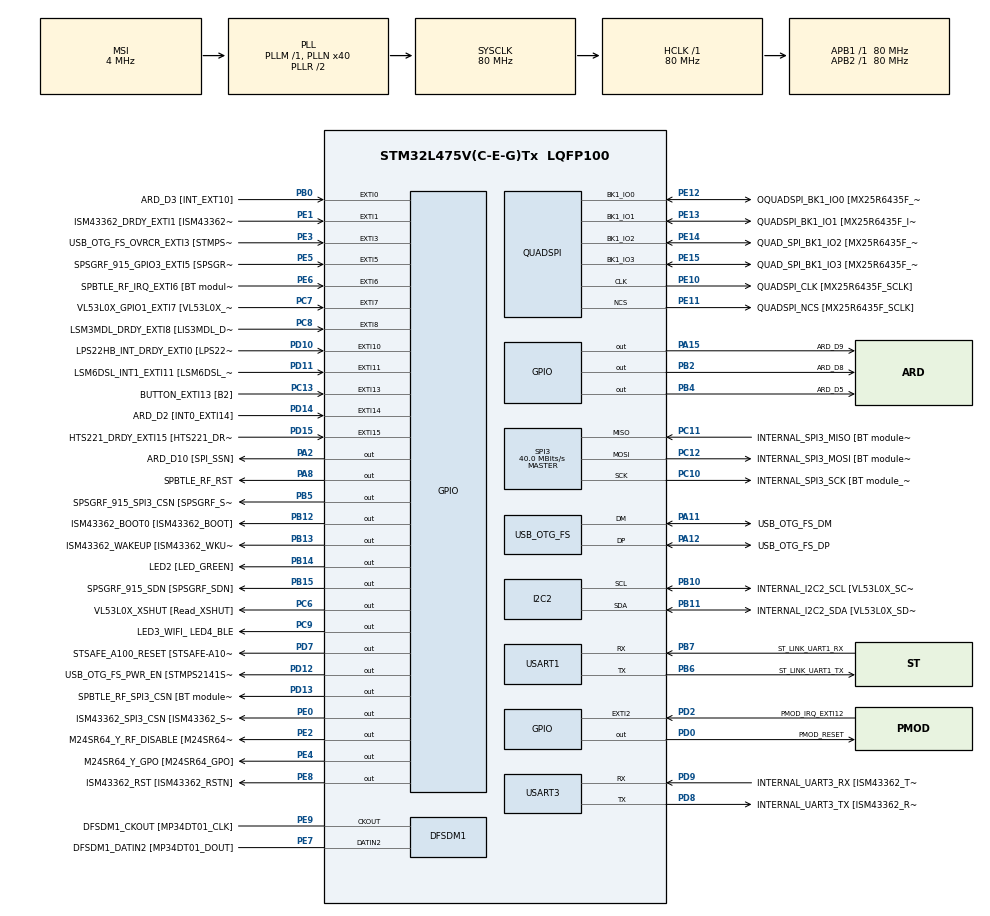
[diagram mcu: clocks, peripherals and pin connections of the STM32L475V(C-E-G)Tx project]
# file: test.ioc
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Mcu.Family=STM32L4
Mcu.Name=STM32L475V(C-E-G)Tx
Mcu.Package=LQFP100
NVIC.EXTI15_10_IRQn=true\:0\:0\:false\:false\:true\:true\:true\:true
NVIC.EXTI9_5_IRQn=true\:0\:0\:false\:false\:true\:true\:true\:true
NVIC.PriorityGroup=NVIC_PRIORITYGROUP_4
PA0.GPIO_Label=ARD_D1 [UART4_TX]
PA0.Signal=UART4_TX
PA1.GPIO_Label=ARD_D0 [UART4_RX]
PA1.Signal=UART4_RX
PA10.GPIO_Label=USB_OTG_FS_ID
PA10.Signal=USB_OTG_FS_ID
PA11.GPIO_Label=USB_OTG_FS_DM
PA11.Mode=Device_Only
PA11.Signal=USB_OTG_FS_DM
PA12.GPIO_Label=USB_OTG_FS_DP
PA12.Mode=Device_Only
PA12.Signal=USB_OTG_FS_DP
PA13\ (JTMS-SWDIO).GPIO_Label=SYS_JTMS_SWDIO
PA13\ (JTMS-SWDIO).Mode=Serial_Wire
PA13\ (JTMS-SWDIO).Signal=SYS_JTMS-SWDIO
PA14\ (JTCK-SWCLK).GPIO_Label=SYS_JTCK_SWCLK
PA14\ (JTCK-SWCLK).Mode=Serial_Wire
PA14\ (JTCK-SWCLK).Signal=SYS_JTCK-SWCLK
PA15\ (JTDI).GPIO_Label=ARD_D9
PA15\ (JTDI).Signal=GPIO_Output
PA2.GPIO_Label=ARD_D10 [SPI_SSN]
PA2.Signal=GPIO_Output
PA3.GPIO_Label=ARD_D4
PA3.Signal=S_TIM2_CH4
PA4.GPIO_Label=ARD_D7
PA4.Signal=ADCx_IN9
PA5.GPIO_Label=ARD_D13 [SPI1_SCK]
PA5.Signal=SPI1_SCK
PA6.GPIO_Label=ARD_D12 [SPI1_MISO]
PA6.Signal=SPI1_MISO
PA7.GPIO_Label=ARD_D11 [SPI1_MOSI]
PA7.Signal=SPI1_MOSI
PA8.GPIO_Label=SPBTLE_RF_RST
PA8.Signal=GPIO_Output
PA9.GPIO_Label=USB_OTG_FS_VBUS [STMPS2141STR_OUT]
PA9.Signal=USB_OTG_FS_VBUS
PB0.GPIO_Label=ARD_D3 [INT_EXT10]
PB0.Signal=GPXTI0
PB1.GPIO_Label=ARD_D6 [ADC1_IN6]
PB1.Signal=ADCx_IN16
PB10.GPIO_Label=INTERNAL_I2C2_SCL [VL53L0X_SCL]
PB10.GPIO_Pu=GPIO_PULLUP
PB10.Mode=I2C
PB10.Signal=I2C2_SCL
PB11.GPIO_Label=INTERNAL_I2C2_SDA [VL53L0X_SDA]
PB11.GPIO_Pu=GPIO_PULLUP
PB11.Mode=I2C
PB11.Signal=I2C2_SDA
PB12.GPIO_Label=ISM43362_BOOT0 [ISM43362_BOOT]
PB12.Signal=GPIO_Output
PB13.GPIO_Label=ISM43362_WAKEUP [ISM43362_WKUP]
PB13.Signal=GPIO_Output
PB14.GPIO_Label=LED2 [LED_GREEN]
PB14.Signal=GPIO_Output
PB15.GPIO_Label=SPSGRF_915_SDN [SPSGRF_SDN]
PB15.Signal=GPIO_Output
PB2.GPIO_Label=ARD_D8
PB2.Signal=GPIO_Output
PB3\ (JTDO-TRACESWO).GPIO_Label=SYS_JTD0_SWO
PB3\ (JTDO-TRACESWO).Signal=SYS_JTDO-SWO
PB4\ (NJTRST).GPIO_Label=ARD_D5
PB4\ (NJTRST).Signal=GPIO_Output
PB5.GPIO_Label=SPSGRF_915_SPI3_CSN [SPSGRF_SPI_CS]
PB5.PinState=GPIO_PIN_SET
PB5.Signal=GPIO_Output
PB6.GPIO_Label=ST_LINK_UART1_TX
PB6.Mode=Asynchronous
PB6.Signal=USART1_TX
PB7.GPIO_Label=ST_LINK_UART1_RX
PB7.Mode=Asynchronous
PB7.Signal=USART1_RX
PB8.GPIO_Label=ARD_D15 [I2C1_SCL]
PB8.Signal=I2C1_SCL
PB9.GPIO_Label=ARD_D14 [I2C1_SDA]
PB9.Signal=I2C1_SDA
PC0.GPIO_Label=ARD_A5 [ADC]
PC0.Signal=ADCx_IN1
PC1.GPIO_Label=ARD_A4 [ADC]
PC1.Signal=ADCx_IN2
PC10.GPIO_Label=INTERNAL_SPI3_SCK [BT module_SPI_SCLK] [ISM43362_SCK]
PC10.Mode=Full_Duplex_Master
PC10.Signal=SPI3_SCK
PC11.GPIO_Label=INTERNAL_SPI3_MISO [BT module_SPI_MISO] [ISM43362_MISO]
PC11.Mode=Full_Duplex_Master
PC11.Signal=SPI3_MISO
PC12.GPIO_Label=INTERNAL_SPI3_MOSI [BT module_SPI_MOSI] [ISM43362_MOSI]
PC12.Mode=Full_Duplex_Master
PC12.Signal=SPI3_MOSI
PC13.GPIO_Label=BUTTON_EXTI13 [B2]
PC13.GPIO_ModeDefaultEXTI=GPIO_MODE_IT_FALLING
PC13.Signal=GPXTI13
PC14-OSC32_IN\ (PC14).Mode=LSE-External-Oscillator
PC14-OSC32_IN\ (PC14).Signal=RCC_OSC32_IN
PC15-OSC32_OUT\ (PC15).Mode=LSE-External-Oscillator
PC15-OSC32_OUT\ (PC15).Signal=RCC_OSC32_OUT
PC2.GPIO_Label=ARD_A3 [ADC]
PC2.Signal=ADCx_IN3
PC3.GPIO_Label=ARD_A2 [ADC]
PC3.Signal=ADCx_IN4
PC4.GPIO_Label=ARD_A1 [ADC]
PC4.Signal=ADCx_IN13
PC5.GPIO_Label=ARD_A0 [ADC]
PC5.Signal=ADCx_IN14
PC6.GPIO_Label=VL53L0X_XSHUT [Read_XSHUT]
PC6.Signal=GPIO_Output
PC7.GPIO_Label=VL53L0X_GPIO1_EXTI7 [VL53L0X_GPIO1]
PC7.Signal=GPXTI7
PC8.GPIO_Label=LSM3MDL_DRDY_EXTI8 [LIS3MDL_DRDY]
PC8.Signal=GPXTI8
PC9.GPIO_Label=LED3_WIFI_ LED4_BLE
PC9.Signal=GPIO_Output
PD0.GPIO_Label=PMOD_RESET
PD0.Signal=GPIO_Output
PD1.GPIO_Label=PMOD_SPI2_SCK
PD1.Signal=SPI2_SCK
PD10.GPIO_Label=LPS22HB_INT_DRDY_EXTI0 [LPS22HB_INT_DRDY] 
PD10.Signal=GPXTI10
PD11.GPIO_Label=LSM6DSL_INT1_EXTI11 [LSM6DSL_INT1]
PD11.Signal=GPXTI11
PD12.GPIO_Label=USB_OTG_FS_PWR_EN [STMPS2141STR_EN]
PD12.Signal=GPIO_Output
PD13.GPIO_Label=SPBTLE_RF_SPI3_CSN [BT module_SPI_CS]
PD13.PinState=GPIO_PIN_SET
PD13.Signal=GPIO_Output
PD14.GPIO_Label=ARD_D2 [INT0_EXTI14]
PD14.Signal=GPXTI14
PD15.GPIO_Label=HTS221_DRDY_EXTI15 [HTS221_DRDY]
PD15.Signal=GPXTI15
PD2.GPIO_Label=PMOD_IRQ_EXTI12
PD2.Signal=GPXTI2
PD3.GPIO_Label=PMOD_UART2_CTS
PD3.Signal=USART2_CTS
PD4.GPIO_Label=PMOD_UART2_RTS
PD4.Signal=USART2_RTS
PD5.GPIO_Label=PMOD_UART2_TX
PD5.Signal=USART2_TX
PD6.GPIO_Label=PMOD_UART2_RX
PD6.Signal=USART2_RX
PD7.GPIO_Label=STSAFE_A100_RESET [STSAFE-A100_RESET]
PD7.Signal=GPIO_Output
PD8.GPIO_Label=INTERNAL_UART3_TX [ISM43362_RX]
PD8.Mode=Asynchronous
PD8.Signal=USART3_TX
PD9.GPIO_Label=INTERNAL_UART3_RX [ISM43362_TX]
PD9.Mode=Asynchronous
PD9.Signal=USART3_RX
PE0.GPIO_Label=ISM43362_SPI3_CSN [ISM43362_SSN]
PE0.PinState=GPIO_PIN_SET
PE0.Signal=GPIO_Output
PE1.GPIO_Label=ISM43362_DRDY_EXTI1 [ISM43362_DATARDY]
PE1.Signal=GPXTI1
PE10.GPIO_Label=QUADSPI_CLK [MX25R6435F_SCLK]
PE10.Mode=Single Bank
PE10.Signal=QUADSPI_CLK
PE11.GPIO_Label=QUADSPI_NCS [MX25R6435F_SCLK]
PE11.Mode=Single Bank
PE11.Signal=QUADSPI_NCS
PE12.GPIO_Label=OQUADSPI_BK1_IO0 [MX25R6435F_IO0]
PE12.Mode=Single Bank
PE12.Signal=QUADSPI_BK1_IO0
PE13.GPIO_Label=QUADSPI_BK1_IO1 [MX25R6435F_IO1]
PE13.Mode=Single Bank
PE13.Signal=QUADSPI_BK1_IO1
PE14.GPIO_Label=QUAD_SPI_BK1_IO2 [MX25R6435F_IO2]
PE14.Mode=Single Bank
PE14.Signal=QUADSPI_BK1_IO2
PE15.GPIO_Label=QUAD_SPI_BK1_IO3 [MX25R6435F_IO3]
PE15.Mode=Single Bank
PE15.Signal=QUADSPI_BK1_IO3
PE2.GPIO_Label=M24SR64_Y_RF_DISABLE [M24SR64_RFDIS]
PE2.Signal=GPIO_Output
PE3.GPIO_Label=USB_OTG_FS_OVRCR_EXTI3 [STMPS2141STR_FAULT]
PE3.Signal=GPXTI3
PE4.GPIO_Label=M24SR64_Y_GPO [M24SR64_GPO]
PE4.Signal=GPIO_Output
PE5.GPIO_Label=SPSGRF_915_GPIO3_EXTI5 [SPSGRF_GPIO_3]
PE5.Signal=GPXTI5
PE6.GPIO_Label=SPBTLE_RF_IRQ_EXTI6 [BT module_SPI_IRQ]
PE6.Signal=GPXTI6
PE7.GPIO_Label=DFSDM1_DATIN2 [MP34DT01_DOUT]
PE7.Signal=S_DATAIN2DFSDM1
PE8.GPIO_Label=ISM43362_RST [ISM43362_RSTN]
PE8.Signal=GPIO_Output
PE9.GPIO_Label=DFSDM1_CKOUT [MP34DT01_CLK]
PE9.Signal=S_CKOUTDFSDM1
ProjectManager.HeapSize=0x200
ProjectManager.StackSize=0x400
ProjectManager.TargetToolchain=STM32CubeIDE
QUADSPI.ClockPrescaler=2
QUADSPI.FifoThreshold=4
QUADSPI.FlashSize=23
QUADSPI.SampleShifting=QSPI_SAMPLE_SHIFTING_HALFCYCLE
RCC.ADCFreq_Value=48000000
RCC.AHBFreq_Value=80000000
RCC.APB1Freq_Value=80000000
RCC.APB1TimFreq_Value=80000000
RCC.APB2Freq_Value=80000000
RCC.APB2TimFreq_Value=80000000
RCC.CortexFreq_Value=80000000
RCC.HCLKFreq_Value=80000000
RCC.HSE_VALUE=8000000
RCC.HSI_VALUE=16000000
RCC.MSI_VALUE=4000000
RCC.PLLN=40
RCC.PLLSAI1N=24
RCC.SYSCLKFreq_VALUE=80000000
RCC.SYSCLKSource=RCC_SYSCLKSOURCE_PLLCLK
RCC.USBFreq_Value=48000000
RCC.VCOOutputFreq_Value=160000000
SH.ADCx_IN1.0=ADC1_IN1
SH.ADCx_IN13.0=ADC1_IN13
SH.ADCx_IN14.0=ADC1_IN14
SH.ADCx_IN16.0=ADC1_IN16
SH.ADCx_IN2.0=ADC1_IN2
SH.ADCx_IN3.0=ADC1_IN3
SH.ADCx_IN4.0=ADC1_IN4
SH.ADCx_IN9.0=ADC1_IN9
SH.S_CKOUTDFSDM1.0=DFSDM1_CKOUT,CKOUT
SH.S_CKOUTDFSDM1.1=DFSDM1_CKOUT,PDM_SPI_Input_from_ch12_and_Internal_Clock
SH.S_DATAIN2DFSDM1.0=DFSDM1_DATIN2,PDM_SPI_Input_from_ch12_and_Internal_Clock
SH.S_TIM2_CH4.0=TIM2_CH4
SPI3.CalculateBaudRate=40.0 MBits/s
SPI3.Direction=SPI_DIRECTION_2LINES
SPI3.Mode=SPI_MODE_MASTER
SPI3.VirtualType=VM_MASTER
USART1.VirtualMode-Asynchronous=VM_ASYNC
USART3.VirtualMode-Asynchronous=VM_ASYNC
USB_OTG_FS.VirtualMode=Device_Only
board=B-L475E-IOT01A1

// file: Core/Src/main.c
/* USER CODE BEGIN Header */
/**
  ******************************************************************************
  * @file           : main.c
  * @brief          : Main program body
  ******************************************************************************
  * @attention
  *
  * Copyright (c) 2024 STMicroelectronics.
  * All rights reserved.
  *
  * This software is licensed under terms that can be found in the LICENSE file
  * in the root directory of this software component.
  * If no LICENSE file comes with this software, it is provided AS-IS.
  *
  ******************************************************************************
  */
/* USER CODE END Header */
#include "main.h"

/* USER CODE BEGIN Includes */
#include "stdio.h"
#include "arm_math.h"
#include "math_helper.h"
#include "stm32l475e_iot01_accelero.h"
/* USER CODE END Includes */

/* USER CODE BEGIN PD */

#define TEST_LENGTH_SAMPLES  320
#define SNR_THRESHOLD_F32    140.0f
#define BLOCK_SIZE            32
#define NUM_TAPS              29

extern float32_t testInput_f32_1kHz_15kHz[TEST_LENGTH_SAMPLES];
extern float32_t refOutput[TEST_LENGTH_SAMPLES];
static float32_t testOutput[TEST_LENGTH_SAMPLES];
static float32_t firStateF32[BLOCK_SIZE + NUM_TAPS - 1];
const float32_t firCoeffs32[NUM_TAPS] = {
  -0.0018225230f, -0.0015879294f, +0.0000000000f, +0.0036977508f, +0.0080754303f, +0.0085302217f, -0.0000000000f, -0.0173976984f,
  -0.0341458607f, -0.0333591565f, +0.0000000000f, +0.0676308395f, +0.1522061835f, +0.2229246956f, +0.2504960933f, +0.2229246956f,
  +0.1522061835f, +0.0676308395f, +0.0000000000f, -0.0333591565f, -0.0341458607f, -0.0173976984f, -0.0000000000f, +0.0085302217f,
  +0.0080754303f, +0.0036977508f, +0.0000000000f, -0.0015879294f, -0.0018225230f
};

extern float32_t myTestInput[64];
static float32_t realInput[64];
static float32_t myOutput[64];
static float32_t my_fir_state[32+16-1];
//const float32_t myCoeffs[16] = {
//	-0.00240944875943933f,	-0.00416217525111597f,	0.00953648542799809f,	0.0199709259953279f,	-0.0379541806908363f,	-0.0695728329288105f,	0.137360839193111f,	0.447230387013765f,	0.447230387013765f,	0.137360839193111f,	-0.0695728329288105f,	-0.0379541806908363f,	0.0199709259953279f,	0.00953648542799809f,	-0.00416217525111597f,	-0.00240944875943933f
//};
const float32_t myCoeffs[16] = {
	-0.00347127644511502f,    -0.00485120373109023f,    -0.00424563075004724f,    0.00889102994524062f,    0.0442373162755437f,    0.100233107352696f,    0.160100278194831f,    0.199106379157941f,    0.199106379157941f,    0.160100278194831f,    0.100233107352696f,    0.0442373162755437f,    0.00889102994524062f,    -0.00424563075004724f,    -0.00485120373109023f,    -0.00347127644511502f
};

/* ------------------------------------------------------------------
 * Global variables for FIR LPF Example
 * ------------------------------------------------------------------- */

uint32_t blockSize = BLOCK_SIZE;
uint32_t numBlocks = TEST_LENGTH_SAMPLES/BLOCK_SIZE;

float32_t  snr;
/* USER CODE END PD */

DFSDM_Channel_HandleTypeDef hdfsdm1_channel1;

I2C_HandleTypeDef hi2c2;

QSPI_HandleTypeDef hqspi;

SPI_HandleTypeDef hspi3;

UART_HandleTypeDef huart1;
UART_HandleTypeDef huart3;

PCD_HandleTypeDef hpcd_USB_OTG_FS;

/* USER CODE BEGIN PV */
uint32_t i, j;
arm_fir_instance_f32 S, my_fir;
arm_status status;
float32_t  *inputF32, *outputF32;
int16_t pDataXYZ[3];
/* USER CODE END PV */

void SystemClock_Config(void);
static void MX_GPIO_Init(void);
static void MX_DFSDM1_Init(void);
static void MX_I2C2_Init(void);
static void MX_QUADSPI_Init(void);
static void MX_SPI3_Init(void);
static void MX_USART1_UART_Init(void);
static void MX_USART3_UART_Init(void);
static void MX_USB_OTG_FS_PCD_Init(void);

/* USER CODE BEGIN 0 */
int __io_putchar(int ch)
{
	HAL_UART_Transmit(&huart1, (uint8_t *)&ch, 1, 0xFFFF);
	return ch;
}
/* USER CODE END 0 */

int main(void)
{

  /* MCU Configuration--------------------------------------------------------*/

  /* Reset of all peripherals, Initializes the Flash interface and the Systick. */
  HAL_Init();

  /* Configure the system clock */
  SystemClock_Config();

  /* Initialize all configured peripherals */
  MX_GPIO_Init();
  MX_DFSDM1_Init();
  MX_I2C2_Init();
  MX_QUADSPI_Init();
  MX_SPI3_Init();
  MX_USART1_UART_Init();
  MX_USART3_UART_Init();
  MX_USB_OTG_FS_PCD_Init();
  /* USER CODE BEGIN 2 */
  BSP_ACCELERO_Init();
  printf("Initialization done.\n");
  arm_fir_example();

  // my fir test
//  printf("\nTest my own lowpass filter using a mixture of 1Hz + 8Hz sine signal under sample rate 20Hz.\n\n");
//  my_fir_test();

  // initialize for real data
  inputF32 = &realInput[0];
  outputF32 = &myOutput[0];
  arm_fir_init_f32(&my_fir, 16, (float32_t *)&myCoeffs[0], &my_fir_state[0], blockSize);

  printf("\nStart reading accelero data.\n\n");
  for(i=0;i<64;i++){
	  BSP_ACCELERO_AccGetXYZ(pDataXYZ);
//	  printf("%d %d %d\n", pDataXYZ[0], pDataXYZ[1], pDataXYZ[2]);
	  realInput[i] = (float32_t)pDataXYZ[2];
	  HAL_Delay(1000/20);
  }
  for(i=0; i < 2; i++)
  {
    arm_fir_f32(&my_fir, inputF32 + (i * blockSize), outputF32 + (i * blockSize), blockSize);
  }
  printf("Original data:\n\n");
  for(i=0; i<64; i++){
	  printf("%f, ", realInput[i]);
  }

  printf("\n\nProcessed data:\n\n");
  for(i=0; i<64; i++){
  	  printf("%f, ", myOutput[i]);
    }
  printf("\n\nDone.\n");

  /* USER CODE END 2 */

  /* Infinite loop */
  while (1)
  {

    /* USER CODE BEGIN 3 */
//	  BSP_ACCELERO_AccGetXYZ(pDataXYZ);
//	  printf("%d %d %d\n", pDataXYZ[0], pDataXYZ[1], pDataXYZ[2]);
	  HAL_Delay(100);
  }
  /* USER CODE END 3 */
}

void SystemClock_Config(void)
{
  RCC_OscInitTypeDef RCC_OscInitStruct = {0};
  RCC_ClkInitTypeDef RCC_ClkInitStruct = {0};

  /** Configure the main internal regulator output voltage
  */
  if (HAL_PWREx_ControlVoltageScaling(PWR_REGULATOR_VOLTAGE_SCALE1) != HAL_OK)
  {
    Error_Handler();
  }

  /** Configure LSE Drive Capability
  */
  HAL_PWR_EnableBkUpAccess();
  __HAL_RCC_LSEDRIVE_CONFIG(RCC_LSEDRIVE_LOW);

  /** Initializes the RCC Oscillators according to the specified parameters
  * in the RCC_OscInitTypeDef structure.
  */
  RCC_OscInitStruct.OscillatorType = RCC_OSCILLATORTYPE_LSE|RCC_OSCILLATORTYPE_MSI;
  RCC_OscInitStruct.LSEState = RCC_LSE_ON;
  RCC_OscInitStruct.MSIState = RCC_MSI_ON;
  RCC_OscInitStruct.MSICalibrationValue = 0;
  RCC_OscInitStruct.MSIClockRange = RCC_MSIRANGE_6;
  RCC_OscInitStruct.PLL.PLLState = RCC_PLL_ON;
  RCC_OscInitStruct.PLL.PLLSource = RCC_PLLSOURCE_MSI;
  RCC_OscInitStruct.PLL.PLLM = 1;
  RCC_OscInitStruct.PLL.PLLN = 40;
  RCC_OscInitStruct.PLL.PLLP = RCC_PLLP_DIV7;
  RCC_OscInitStruct.PLL.PLLQ = RCC_PLLQ_DIV2;
  RCC_OscInitStruct.PLL.PLLR = RCC_PLLR_DIV2;
  if (HAL_RCC_OscConfig(&RCC_OscInitStruct) != HAL_OK)
  {
    Error_Handler();
  }

  /** Initializes the CPU, AHB and APB buses clocks
  */
  RCC_ClkInitStruct.ClockType = RCC_CLOCKTYPE_HCLK|RCC_CLOCKTYPE_SYSCLK
                              |RCC_CLOCKTYPE_PCLK1|RCC_CLOCKTYPE_PCLK2;
  RCC_ClkInitStruct.SYSCLKSource = RCC_SYSCLKSOURCE_PLLCLK;
  RCC_ClkInitStruct.AHBCLKDivider = RCC_SYSCLK_DIV1;
  RCC_ClkInitStruct.APB1CLKDivider = RCC_HCLK_DIV1;
  RCC_ClkInitStruct.APB2CLKDivider = RCC_HCLK_DIV1;

  if (HAL_RCC_ClockConfig(&RCC_ClkInitStruct, FLASH_LATENCY_4) != HAL_OK)
  {
    Error_Handler();
  }

  /** Enable MSI Auto calibration
  */
  HAL_RCCEx_EnableMSIPLLMode();
}

static void MX_DFSDM1_Init(void)
{

  hdfsdm1_channel1.Instance = DFSDM1_Channel1;
  hdfsdm1_channel1.Init.OutputClock.Activation = ENABLE;
  hdfsdm1_channel1.Init.OutputClock.Selection = DFSDM_CHANNEL_OUTPUT_CLOCK_SYSTEM;
  hdfsdm1_channel1.Init.OutputClock.Divider = 2;
  hdfsdm1_channel1.Init.Input.Multiplexer = DFSDM_CHANNEL_EXTERNAL_INPUTS;
  hdfsdm1_channel1.Init.Input.DataPacking = DFSDM_CHANNEL_STANDARD_MODE;
  hdfsdm1_channel1.Init.Input.Pins = DFSDM_CHANNEL_FOLLOWING_CHANNEL_PINS;
  hdfsdm1_channel1.Init.SerialInterface.Type = DFSDM_CHANNEL_SPI_RISING;
  hdfsdm1_channel1.Init.SerialInterface.SpiClock = DFSDM_CHANNEL_SPI_CLOCK_INTERNAL;
  hdfsdm1_channel1.Init.Awd.FilterOrder = DFSDM_CHANNEL_FASTSINC_ORDER;
  hdfsdm1_channel1.Init.Awd.Oversampling = 1;
  hdfsdm1_channel1.Init.Offset = 0;
  hdfsdm1_channel1.Init.RightBitShift = 0x00;
  if (HAL_DFSDM_ChannelInit(&hdfsdm1_channel1) != HAL_OK)
  {
    Error_Handler();
  }

}

static void MX_I2C2_Init(void)
{

  hi2c2.Instance = I2C2;
  hi2c2.Init.Timing = 0x00000E14;
  hi2c2.Init.OwnAddress1 = 0;
  hi2c2.Init.AddressingMode = I2C_ADDRESSINGMODE_7BIT;
  hi2c2.Init.DualAddressMode = I2C_DUALADDRESS_DISABLE;
  hi2c2.Init.OwnAddress2 = 0;
  hi2c2.Init.OwnAddress2Masks = I2C_OA2_NOMASK;
  hi2c2.Init.GeneralCallMode = I2C_GENERALCALL_DISABLE;
  hi2c2.Init.NoStretchMode = I2C_NOSTRETCH_DISABLE;
  if (HAL_I2C_Init(&hi2c2) != HAL_OK)
  {
    Error_Handler();
  }

  /** Configure Analogue filter
  */
  if (HAL_I2CEx_ConfigAnalogFilter(&hi2c2, I2C_ANALOGFILTER_ENABLE) != HAL_OK)
  {
    Error_Handler();
  }

  /** Configure Digital filter
  */
  if (HAL_I2CEx_ConfigDigitalFilter(&hi2c2, 0) != HAL_OK)
  {
    Error_Handler();
  }

}

static void MX_QUADSPI_Init(void)
{

  /* QUADSPI parameter configuration*/
  hqspi.Instance = QUADSPI;
  hqspi.Init.ClockPrescaler = 2;
  hqspi.Init.FifoThreshold = 4;
  hqspi.Init.SampleShifting = QSPI_SAMPLE_SHIFTING_HALFCYCLE;
  hqspi.Init.FlashSize = 23;
  hqspi.Init.ChipSelectHighTime = QSPI_CS_HIGH_TIME_1_CYCLE;
  hqspi.Init.ClockMode = QSPI_CLOCK_MODE_0;
  if (HAL_QSPI_Init(&hqspi) != HAL_OK)
  {
    Error_Handler();
  }

}

static void MX_SPI3_Init(void)
{

  /* SPI3 parameter configuration*/
  hspi3.Instance = SPI3;
  hspi3.Init.Mode = SPI_MODE_MASTER;
  hspi3.Init.Direction = SPI_DIRECTION_2LINES;
  hspi3.Init.DataSize = SPI_DATASIZE_4BIT;
  hspi3.Init.CLKPolarity = SPI_POLARITY_LOW;
  hspi3.Init.CLKPhase = SPI_PHASE_1EDGE;
  hspi3.Init.NSS = SPI_NSS_SOFT;
  hspi3.Init.BaudRatePrescaler = SPI_BAUDRATEPRESCALER_2;
  hspi3.Init.FirstBit = SPI_FIRSTBIT_MSB;
  hspi3.Init.TIMode = SPI_TIMODE_DISABLE;
  hspi3.Init.CRCCalculation = SPI_CRCCALCULATION_DISABLE;
  hspi3.Init.CRCPolynomial = 7;
  hspi3.Init.CRCLength = SPI_CRC_LENGTH_DATASIZE;
  hspi3.Init.NSSPMode = SPI_NSS_PULSE_ENABLE;
  if (HAL_SPI_Init(&hspi3) != HAL_OK)
  {
    Error_Handler();
  }

}

static void MX_USART1_UART_Init(void)
{

  huart1.Instance = USART1;
  huart1.Init.BaudRate = 115200;
  huart1.Init.WordLength = UART_WORDLENGTH_8B;
  huart1.Init.StopBits = UART_STOPBITS_1;
  huart1.Init.Parity = UART_PARITY_NONE;
  huart1.Init.Mode = UART_MODE_TX_RX;
  huart1.Init.HwFlowCtl = UART_HWCONTROL_NONE;
  huart1.Init.OverSampling = UART_OVERSAMPLING_16;
  huart1.Init.OneBitSampling = UART_ONE_BIT_SAMPLE_DISABLE;
  huart1.AdvancedInit.AdvFeatureInit = UART_ADVFEATURE_NO_INIT;
  if (HAL_UART_Init(&huart1) != HAL_OK)
  {
    Error_Handler();
  }

}

static void MX_USART3_UART_Init(void)
{

  huart3.Instance = USART3;
  huart3.Init.BaudRate = 115200;
  huart3.Init.WordLength = UART_WORDLENGTH_8B;
  huart3.Init.StopBits = UART_STOPBITS_1;
  huart3.Init.Parity = UART_PARITY_NONE;
  huart3.Init.Mode = UART_MODE_TX_RX;
  huart3.Init.HwFlowCtl = UART_HWCONTROL_NONE;
  huart3.Init.OverSampling = UART_OVERSAMPLING_16;
  huart3.Init.OneBitSampling = UART_ONE_BIT_SAMPLE_DISABLE;
  huart3.AdvancedInit.AdvFeatureInit = UART_ADVFEATURE_NO_INIT;
  if (HAL_UART_Init(&huart3) != HAL_OK)
  {
    Error_Handler();
  }

}

static void MX_USB_OTG_FS_PCD_Init(void)
{

  hpcd_USB_OTG_FS.Instance = USB_OTG_FS;
  hpcd_USB_OTG_FS.Init.dev_endpoints = 6;
  hpcd_USB_OTG_FS.Init.speed = PCD_SPEED_FULL;
  hpcd_USB_OTG_FS.Init.phy_itface = PCD_PHY_EMBEDDED;
  hpcd_USB_OTG_FS.Init.Sof_enable = DISABLE;
  hpcd_USB_OTG_FS.Init.low_power_enable = DISABLE;
  hpcd_USB_OTG_FS.Init.lpm_enable = DISABLE;
  hpcd_USB_OTG_FS.Init.battery_charging_enable = DISABLE;
  hpcd_USB_OTG_FS.Init.use_dedicated_ep1 = DISABLE;
  hpcd_USB_OTG_FS.Init.vbus_sensing_enable = DISABLE;
  if (HAL_PCD_Init(&hpcd_USB_OTG_FS) != HAL_OK)
  {
    Error_Handler();
  }

}

static void MX_GPIO_Init(void)
{
  GPIO_InitTypeDef GPIO_InitStruct = {0};

  /* GPIO Ports Clock Enable */
  __HAL_RCC_GPIOE_CLK_ENABLE();
  __HAL_RCC_GPIOC_CLK_ENABLE();
  __HAL_RCC_GPIOA_CLK_ENABLE();
  __HAL_RCC_GPIOB_CLK_ENABLE();
  __HAL_RCC_GPIOD_CLK_ENABLE();

  /*Configure GPIO pin Output Level */
  HAL_GPIO_WritePin(GPIOE, M24SR64_Y_RF_DISABLE_Pin|M24SR64_Y_GPO_Pin|ISM43362_RST_Pin, GPIO_PIN_RESET);

  /*Configure GPIO pin Output Level */
  HAL_GPIO_WritePin(GPIOA, ARD_D10_Pin|SPBTLE_RF_RST_Pin|ARD_D9_Pin, GPIO_PIN_RESET);

  /*Configure GPIO pin Output Level */
  HAL_GPIO_WritePin(GPIOB, ARD_D8_Pin|ISM43362_BOOT0_Pin|ISM43362_WAKEUP_Pin|LED2_Pin
                          |SPSGRF_915_SDN_Pin|ARD_D5_Pin, GPIO_PIN_RESET);

  /*Configure GPIO pin Output Level */
  HAL_GPIO_WritePin(GPIOD, USB_OTG_FS_PWR_EN_Pin|PMOD_RESET_Pin|STSAFE_A100_RESET_Pin, GPIO_PIN_RESET);

  /*Configure GPIO pin Output Level */
  HAL_GPIO_WritePin(SPBTLE_RF_SPI3_CSN_GPIO_Port, SPBTLE_RF_SPI3_CSN_Pin, GPIO_PIN_SET);

  /*Configure GPIO pin Output Level */
  HAL_GPIO_WritePin(GPIOC, VL53L0X_XSHUT_Pin|LED3_WIFI__LED4_BLE_Pin, GPIO_PIN_RESET);

  /*Configure GPIO pin Output Level */
  HAL_GPIO_WritePin(SPSGRF_915_SPI3_CSN_GPIO_Port, SPSGRF_915_SPI3_CSN_Pin, GPIO_PIN_SET);

  /*Configure GPIO pin Output Level */
  HAL_GPIO_WritePin(ISM43362_SPI3_CSN_GPIO_Port, ISM43362_SPI3_CSN_Pin, GPIO_PIN_SET);

  /*Configure GPIO pins : M24SR64_Y_RF_DISABLE_Pin M24SR64_Y_GPO_Pin ISM43362_RST_Pin ISM43362_SPI3_CSN_Pin */
  GPIO_InitStruct.Pin = M24SR64_Y_RF_DISABLE_Pin|M24SR64_Y_GPO_Pin|ISM43362_RST_Pin|ISM43362_SPI3_CSN_Pin;
  GPIO_InitStruct.Mode = GPIO_MODE_OUTPUT_PP;
  GPIO_InitStruct.Pull = GPIO_NOPULL;
  GPIO_InitStruct.Speed = GPIO_SPEED_FREQ_LOW;
  HAL_GPIO_Init(GPIOE, &GPIO_InitStruct);

  /*Configure GPIO pins : USB_OTG_FS_OVRCR_EXTI3_Pin SPSGRF_915_GPIO3_EXTI5_Pin SPBTLE_RF_IRQ_EXTI6_Pin ISM43362_DRDY_EXTI1_Pin */
  GPIO_InitStruct.Pin = USB_OTG_FS_OVRCR_EXTI3_Pin|SPSGRF_915_GPIO3_EXTI5_Pin|SPBTLE_RF_IRQ_EXTI6_Pin|ISM43362_DRDY_EXTI1_Pin;
  GPIO_InitStruct.Mode = GPIO_MODE_IT_RISING;
  GPIO_InitStruct.Pull = GPIO_NOPULL;
  HAL_GPIO_Init(GPIOE, &GPIO_InitStruct);

  /*Configure GPIO pin : BUTTON_EXTI13_Pin */
  GPIO_InitStruct.Pin = BUTTON_EXTI13_Pin;
  GPIO_InitStruct.Mode = GPIO_MODE_IT_FALLING;
  GPIO_InitStruct.Pull = GPIO_NOPULL;
  HAL_GPIO_Init(BUTTON_EXTI13_GPIO_Port, &GPIO_InitStruct);

  /*Configure GPIO pins : ARD_A5_Pin ARD_A4_Pin ARD_A3_Pin ARD_A2_Pin
                           ARD_A1_Pin ARD_A0_Pin */
  GPIO_InitStruct.Pin = ARD_A5_Pin|ARD_A4_Pin|ARD_A3_Pin|ARD_A2_Pin
                          |ARD_A1_Pin|ARD_A0_Pin;
  GPIO_InitStruct.Mode = GPIO_MODE_ANALOG_ADC_CONTROL;
  GPIO_InitStruct.Pull = GPIO_NOPULL;
  HAL_GPIO_Init(GPIOC, &GPIO_InitStruct);

  /*Configure GPIO pins : ARD_D1_Pin ARD_D0_Pin */
  GPIO_InitStruct.Pin = ARD_D1_Pin|ARD_D0_Pin;
  GPIO_InitStruct.Mode = GPIO_MODE_AF_PP;
  GPIO_InitStruct.Pull = GPIO_NOPULL;
  GPIO_InitStruct.Speed = GPIO_SPEED_FREQ_VERY_HIGH;
  GPIO_InitStruct.Alternate = GPIO_AF8_UART4;
  HAL_GPIO_Init(GPIOA, &GPIO_InitStruct);

  /*Configure GPIO pins : ARD_D10_Pin SPBTLE_RF_RST_Pin ARD_D9_Pin */
  GPIO_InitStruct.Pin = ARD_D10_Pin|SPBTLE_RF_RST_Pin|ARD_D9_Pin;
  GPIO_InitStruct.Mode = GPIO_MODE_OUTPUT_PP;
  GPIO_InitStruct.Pull = GPIO_NOPULL;
  GPIO_InitStruct.Speed = GPIO_SPEED_FREQ_LOW;
  HAL_GPIO_Init(GPIOA, &GPIO_InitStruct);

  /*Configure GPIO pin : ARD_D4_Pin */
  GPIO_InitStruct.Pin = ARD_D4_Pin;
  GPIO_InitStruct.Mode = GPIO_MODE_AF_PP;
  GPIO_InitStruct.Pull = GPIO_NOPULL;
  GPIO_InitStruct.Speed = GPIO_SPEED_FREQ_LOW;
  GPIO_InitStruct.Alternate = GPIO_AF1_TIM2;
  HAL_GPIO_Init(ARD_D4_GPIO_Port, &GPIO_InitStruct);

  /*Configure GPIO pin : ARD_D7_Pin */
  GPIO_InitStruct.Pin = ARD_D7_Pin;
  GPIO_InitStruct.Mode = GPIO_MODE_ANALOG_ADC_CONTROL;
  GPIO_InitStruct.Pull = GPIO_NOPULL;
  HAL_GPIO_Init(ARD_D7_GPIO_Port, &GPIO_InitStruct);

  /*Configure GPIO pins : ARD_D13_Pin ARD_D12_Pin ARD_D11_Pin */
  GPIO_InitStruct.Pin = ARD_D13_Pin|ARD_D12_Pin|ARD_D11_Pin;
  GPIO_InitStruct.Mode = GPIO_MODE_AF_PP;
  GPIO_InitStruct.Pull = GPIO_NOPULL;
  GPIO_InitStruct.Speed = GPIO_SPEED_FREQ_VERY_HIGH;
  GPIO_InitStruct.Alternate = GPIO_AF5_SPI1;
  HAL_GPIO_Init(GPIOA, &GPIO_InitStruct);

  /*Configure GPIO pin : ARD_D3_Pin */
  GPIO_InitStruct.Pin = ARD_D3_Pin;
  GPIO_InitStruct.Mode = GPIO_MODE_IT_RISING;
  GPIO_InitStruct.Pull = GPIO_NOPULL;
  HAL_GPIO_Init(ARD_D3_GPIO_Port, &GPIO_InitStruct);

  /*Configure GPIO pin : ARD_D6_Pin */
  GPIO_InitStruct.Pin = ARD_D6_Pin;
  GPIO_InitStruct.Mode = GPIO_MODE_ANALOG_ADC_CONTROL;
  GPIO_InitStruct.Pull = GPIO_NOPULL;
  HAL_GPIO_Init(ARD_D6_GPIO_Port, &GPIO_InitStruct);

  /*Configure GPIO pins : ARD_D8_Pin ISM43362_BOOT0_Pin ISM43362_WAKEUP_Pin LED2_Pin
                           SPSGRF_915_SDN_Pin ARD_D5_Pin SPSGRF_915_SPI3_CSN_Pin */
  GPIO_InitStruct.Pin = ARD_D8_Pin|ISM43362_BOOT0_Pin|ISM43362_WAKEUP_Pin|LED2_Pin
                          |SPSGRF_915_SDN_Pin|ARD_D5_Pin|SPSGRF_915_SPI3_CSN_Pin;
  GPIO_InitStruct.Mode = GPIO_MODE_OUTPUT_PP;
  GPIO_InitStruct.Pull = GPIO_NOPULL;
  GPIO_InitStruct.Speed = GPIO_SPEED_FREQ_LOW;
  HAL_GPIO_Init(GPIOB, &GPIO_InitStruct);

  /*Configure GPIO pins : LPS22HB_INT_DRDY_EXTI0_Pin LSM6DSL_INT1_EXTI11_Pin ARD_D2_Pin HTS221_DRDY_EXTI15_Pin
                           PMOD_IRQ_EXTI12_Pin */
  GPIO_InitStruct.Pin = LPS22HB_INT_DRDY_EXTI0_Pin|LSM6DSL_INT1_EXTI11_Pin|ARD_D2_Pin|HTS221_DRDY_EXTI15_Pin
                          |PMOD_IRQ_EXTI12_Pin;
  GPIO_InitStruct.Mode = GPIO_MODE_IT_RISING;
  GPIO_InitStruct.Pull = GPIO_NOPULL;
  HAL_GPIO_Init(GPIOD, &GPIO_InitStruct);

  /*Configure GPIO pins : USB_OTG_FS_PWR_EN_Pin SPBTLE_RF_SPI3_CSN_Pin PMOD_RESET_Pin STSAFE_A100_RESET_Pin */
  GPIO_InitStruct.Pin = USB_OTG_FS_PWR_EN_Pin|SPBTLE_RF_SPI3_CSN_Pin|PMOD_RESET_Pin|STSAFE_A100_RESET_Pin;
  GPIO_InitStruct.Mode = GPIO_MODE_OUTPUT_PP;
  GPIO_InitStruct.Pull = GPIO_NOPULL;
  GPIO_InitStruct.Speed = GPIO_SPEED_FREQ_LOW;
  HAL_GPIO_Init(GPIOD, &GPIO_InitStruct);

  /*Configure GPIO pins : VL53L0X_XSHUT_Pin LED3_WIFI__LED4_BLE_Pin */
  GPIO_InitStruct.Pin = VL53L0X_XSHUT_Pin|LED3_WIFI__LED4_BLE_Pin;
  GPIO_InitStruct.Mode = GPIO_MODE_OUTPUT_PP;
  GPIO_InitStruct.Pull = GPIO_NOPULL;
  GPIO_InitStruct.Speed = GPIO_SPEED_FREQ_LOW;
  HAL_GPIO_Init(GPIOC, &GPIO_InitStruct);

  /*Configure GPIO pins : VL53L0X_GPIO1_EXTI7_Pin LSM3MDL_DRDY_EXTI8_Pin */
  GPIO_InitStruct.Pin = VL53L0X_GPIO1_EXTI7_Pin|LSM3MDL_DRDY_EXTI8_Pin;
  GPIO_InitStruct.Mode = GPIO_MODE_IT_RISING;
  GPIO_InitStruct.Pull = GPIO_NOPULL;
  HAL_GPIO_Init(GPIOC, &GPIO_InitStruct);

  /*Configure GPIO pin : PMOD_SPI2_SCK_Pin */
  GPIO_InitStruct.Pin = PMOD_SPI2_SCK_Pin;
  GPIO_InitStruct.Mode = GPIO_MODE_AF_PP;
  GPIO_InitStruct.Pull = GPIO_NOPULL;
  GPIO_InitStruct.Speed = GPIO_SPEED_FREQ_VERY_HIGH;
  GPIO_InitStruct.Alternate = GPIO_AF5_SPI2;
  HAL_GPIO_Init(PMOD_SPI2_SCK_GPIO_Port, &GPIO_InitStruct);

  /*Configure GPIO pins : PMOD_UART2_CTS_Pin PMOD_UART2_RTS_Pin PMOD_UART2_TX_Pin PMOD_UART2_RX_Pin */
  GPIO_InitStruct.Pin = PMOD_UART2_CTS_Pin|PMOD_UART2_RTS_Pin|PMOD_UART2_TX_Pin|PMOD_UART2_RX_Pin;
  GPIO_InitStruct.Mode = GPIO_MODE_AF_PP;
  GPIO_InitStruct.Pull = GPIO_NOPULL;
  GPIO_InitStruct.Speed = GPIO_SPEED_FREQ_VERY_HIGH;
  GPIO_InitStruct.Alternate = GPIO_AF7_USART2;
  HAL_GPIO_Init(GPIOD, &GPIO_InitStruct);

  /*Configure GPIO pins : ARD_D15_Pin ARD_D14_Pin */
  GPIO_InitStruct.Pin = ARD_D15_Pin|ARD_D14_Pin;
  GPIO_InitStruct.Mode = GPIO_MODE_AF_OD;
  GPIO_InitStruct.Pull = GPIO_NOPULL;
  GPIO_InitStruct.Speed = GPIO_SPEED_FREQ_VERY_HIGH;
  GPIO_InitStruct.Alternate = GPIO_AF4_I2C1;
  HAL_GPIO_Init(GPIOB, &GPIO_InitStruct);

  /* EXTI interrupt init*/
  HAL_NVIC_SetPriority(EXTI9_5_IRQn, 0, 0);
  HAL_NVIC_EnableIRQ(EXTI9_5_IRQn);

  HAL_NVIC_SetPriority(EXTI15_10_IRQn, 0, 0);
  HAL_NVIC_EnableIRQ(EXTI15_10_IRQn);

}

/* USER CODE BEGIN 4 */
void arm_fir_example(void)
{
  /* Initialize input and output buffer pointers */
  inputF32 = &testInput_f32_1kHz_15kHz[0];
  outputF32 = &testOutput[0];

  /* Call FIR init function to initialize the instance structure. */
  arm_fir_init_f32(&S, NUM_TAPS, (float32_t *)&firCoeffs32[0], &firStateF32[0], blockSize);

  /* ----------------------------------------------------------------------
  ** Call the FIR process function for every blockSize samples
  ** ------------------------------------------------------------------- */

  for(i=0; i < numBlocks; i++)
  {
    arm_fir_f32(&S, inputF32 + (i * blockSize), outputF32 + (i * blockSize), blockSize);
  }

  /* ----------------------------------------------------------------------
  ** Compare the generated output against the reference output computed
  ** in MATLAB.
  ** ------------------------------------------------------------------- */

  snr = arm_snr_f32(&refOutput[0], &testOutput[0], TEST_LENGTH_SAMPLES);

  if (snr < SNR_THRESHOLD_F32)
  {
    status = ARM_MATH_TEST_FAILURE;
  }
  else
  {
    status = ARM_MATH_SUCCESS;
  }

  /* ----------------------------------------------------------------------
  ** Loop here if the signal does not match the reference output.
  ** ------------------------------------------------------------------- */

  if ( status != ARM_MATH_SUCCESS)
  {
    while (1);
  }
  printf("FIR example ran successfully.\n");
}

void my_fir_test(void)
{
	  inputF32 = &myTestInput[0];
	  outputF32 = &myOutput[0];

	  /* Call FIR init function to initialize the instance structure. */
	  arm_fir_init_f32(&my_fir, 16, (float32_t *)&myCoeffs[0], &my_fir_state[0], blockSize);

	  /* ----------------------------------------------------------------------
	  ** Call the FIR process function for every blockSize samples
	  ** ------------------------------------------------------------------- */

	  for(i=0; i < 2; i++)
	  {
	    arm_fir_f32(&my_fir, inputF32 + (i * blockSize), outputF32 + (i * blockSize), blockSize);
	  }

	  for(i=0; i<64; i++){
		  printf("%f, ", myOutput[i]);
	  }
	  printf("\nMy FIR test ran successfully.\n");
}
/* USER CODE END 4 */

void Error_Handler(void)
{
  __disable_irq();
  while (1)
  {
  }
}
